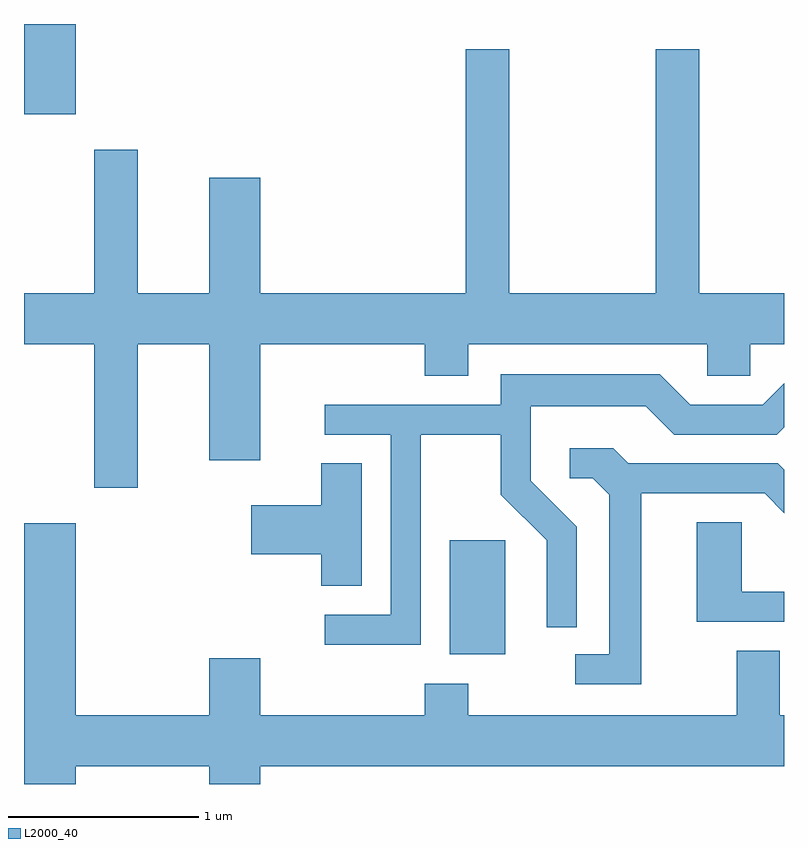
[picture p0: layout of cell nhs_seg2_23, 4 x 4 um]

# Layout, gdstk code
import gdstk
lib = gdstk.Library(unit=1e-6, precision=1e-09)
def R(c, l, rs):  # rectangles x0, y0, x1, y1
    for r in rs: c.add(gdstk.rectangle(r[:2], r[2:], *l))
def P(c, l, *ps):  # polygons
    for p in ps: c.add(gdstk.Polygon(p, *l))
L2000_40 = (2000, 40)

nhs_seg2_23 = lib.new_cell('nhs_seg2_23')
R(nhs_seg2_23, L2000_40, [(187.851,1024.486,188.144,1025.084), (185.611,1027.326,185.884,1027.802)])
P(nhs_seg2_23, L2000_40, [(186.209,1026.116),(186.586,1026.116),(186.586,1025.506),(186.854,1025.506),(186.854,1026.116),(187.721,1026.116),(187.721,1025.951),(187.949,1025.951),(187.949,1026.116),(189.206,1026.116),(189.206,1025.951),(189.434,1025.951),(189.434,1026.116),(189.611,1026.116),(189.611,1026.384),(189.164,1026.384),(189.164,1027.669),(188.936,1027.669),(188.936,1026.384),(188.164,1026.384),(188.164,1027.669),(187.936,1027.669),(187.936,1026.384),(186.854,1026.384),(186.854,1026.994),(186.586,1026.994),(186.586,1026.384),(186.209,1026.384),(186.209,1027.139),(185.981,1027.139),(185.981,1026.384),(185.611,1026.384),(185.611,1026.116),(185.981,1026.116),(185.981,1025.361),(186.209,1025.361)],
  [(187.699,1025.641),(188.121,1025.641),(188.121,1025.324),(188.361,1025.084),(188.361,1024.628),(188.519,1024.628),(188.519,1025.157),(188.279,1025.397),(188.279,1025.791),(188.884,1025.791),(189.034,1025.641),(189.572,1025.641),(189.611,1025.68),(189.611,1025.911),(189.499,1025.799),(189.117,1025.799),(188.957,1025.959),(188.121,1025.959),(188.121,1025.799),(187.193,1025.799),(187.193,1025.641),(187.541,1025.641),(187.541,1024.694),(187.193,1024.694),(187.193,1024.536),(187.699,1024.536)],
  [(188.859,1025.331),(189.509,1025.331),(189.611,1025.228),(189.611,1025.455),(189.577,1025.489),(188.792,1025.489),(188.712,1025.569),(188.483,1025.569),(188.483,1025.411),(188.604,1025.411),(188.691,1025.324),(188.691,1024.484),(188.513,1024.484),(188.513,1024.326),(188.859,1024.326)],
  [(187.389,1025.489),(187.176,1025.489),(187.176,1025.269),(186.806,1025.269),(186.806,1025.011),(187.176,1025.011),(187.176,1024.846),(187.389,1024.846)],
  [(189.611,1024.814),(189.389,1024.814),(189.389,1025.179),(189.151,1025.179),(189.151,1024.656),(189.611,1024.656)],
  [(185.884,1023.896),(186.586,1023.896),(186.586,1023.802),(186.854,1023.802),(186.854,1023.896),(189.611,1023.896),(189.611,1024.164),(189.589,1024.164),(189.589,1024.504),(189.361,1024.504),(189.361,1024.164),(187.949,1024.164),(187.949,1024.329),(187.721,1024.329),(187.721,1024.164),(186.854,1024.164),(186.854,1024.464),(186.586,1024.464),(186.586,1024.164),(185.884,1024.164),(185.884,1025.174),(185.611,1025.174),(185.611,1023.802),(185.884,1023.802)])

lib.write_gds('nhs_seg2_23.gds')
